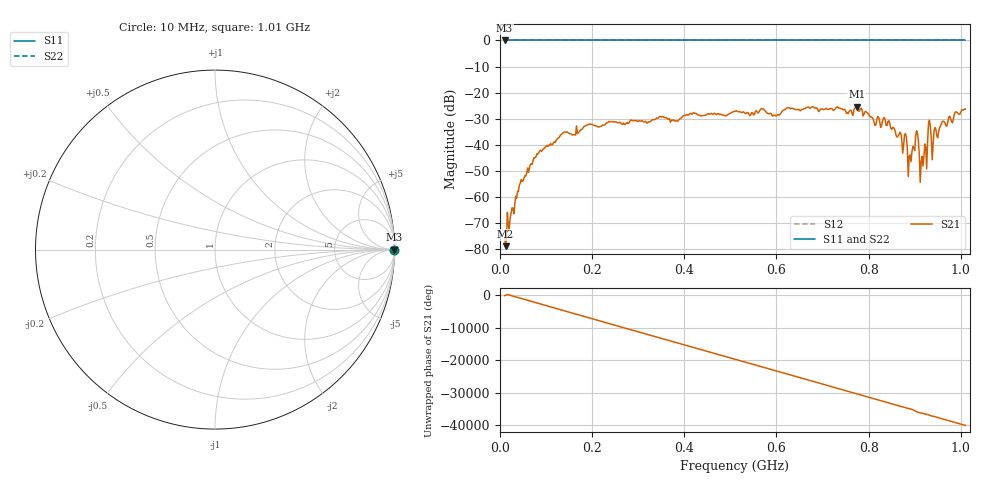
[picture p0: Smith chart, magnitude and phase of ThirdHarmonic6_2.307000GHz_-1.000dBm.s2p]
! 8/17/2025 3:10:40 AM
! C:\ANRITSUVNA\TEMP\TEMP.S2P
! CHANNEL.1
! TR.MEASUREMENT
! RAW.DATA
! RF.CORRECTION.OFF
! AVERAGING.OFF
! IF.BANDWIDTH: 5KHZ
! SWEEPTYPE:  FREQ.SWEEP(Linear)
! Reference Plane Port Info
! PORT:  PORT1  PORT2
! DISTANCE:  0  m  0  m
! TIME:  0  s  0  s
! PHASE.OFFSET:  0  deg.  0  deg.
! LOSS:  0  dB  0  dB
! REF.LOSS:  0  dB  0  dB
! REF.FREQ:  0  Hz  0  Hz
! Power Info
! POWER:  -20  dBm  -20  dBm
! EFF.POWER:  -20  dBm  -20  dBm
! SOURCE.ATTEN:  0  dB  0  dB
! TEST.ATTEN:  0  dB  0  dB
# GHZ S RI R 50.0
! FREQ.GHZ  S11RE  S11IM  S21RE  S21IM  S12RE  S12IM  S22RE  S22IM
!; PortSelection: Port_12
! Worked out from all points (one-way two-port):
!   501 points, 10 MHz to 1.01 GHz, reference 50 ohm
!   highest |S21| = -25.45 dB at 774 MHz (marker M1); lowest = -79.0 dB at 12 MHz (marker M2)
!   lowest |S11| = 0.0 dB at 10 MHz (marker M3)
!   |S11| at or under -10 dB: nowhere
!   |S22| runs from 0.0 to 0.0 dB; largest |S21 - S12| = 1.1
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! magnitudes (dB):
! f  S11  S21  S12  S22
! 10 MHz  0.0  -75.5  0.0  0.0
! 12 MHz  0.0  -79.0  0.0  0.0
! 42 MHz  0.0  -55.5  0.0  0.0
! 76 MHz  0.0  -45.1  0.0  0.0
! 136 MHz  0.0  -35.6  0.0  0.0
! 178 MHz  0.0  -34.1  0.0  0.0
! 344 MHz  0.0  -29.7  0.0  0.0
! 510 MHz  0.0  -27.2  0.0  0.0
! 596 MHz  0.0  -28.7  0.0  0.0
! 678 MHz  0.0  -25.5  0.0  0.0
! 774 MHz  0.0  -25.4  0.0  0.0
! 812 MHz  0.0  -31.6  0.0  0.0
! 844 MHz  0.0  -30.8  0.0  0.0
! 880 MHz  0.0  -35.8  0.0  0.0
! 890 MHz  0.0  -43.9  0.0  0.0
! 906 MHz  0.0  -35.6  0.0  0.0
! 910 MHz  0.0  -43.9  0.0  0.0
! 916 MHz  0.0  -44.5  0.0  0.0
! 932 MHz  0.0  -30.6  0.0  0.0
! 940 MHz  0.0  -39.7  0.0  0.0
! 960 MHz  0.0  -31.1  0.0  0.0
! 1.01 GHz  0.0  -26.3  0.0  0.0
